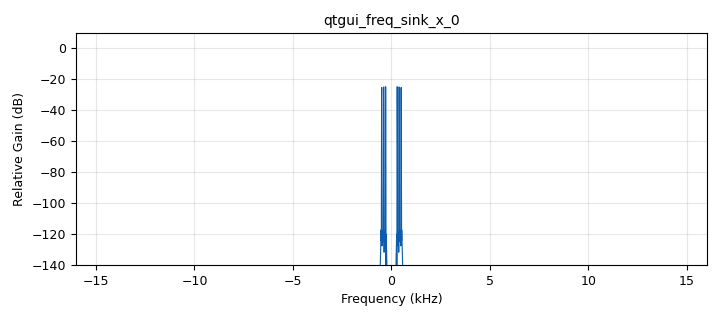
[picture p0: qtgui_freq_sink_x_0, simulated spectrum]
options:
  parameters:
    generate_options: qt_gui
    id: ec415_lab1_kremerme_cgeron
    output_language: python
    title: Not titled yet
  states: {}

blocks:
- name: fone
  id: variable
  parameters:
    value: '294'
  states: {}
- name: fthree
  id: variable
  parameters:
    value: '494'
  states: {}
- name: ftwo
  id: variable
  parameters:
    value: '392'
  states: {}
- name: num_notes
  id: variable
  parameters:
    value: '3'
  states: {}
- name: samp_rate
  id: variable
  parameters:
    value: '32000'
  states: {}
- name: samples_per_symbol
  id: variable
  parameters:
    value: '200'
  states: {}
- name: analog_sig_source_x_0
  id: analog_sig_source_x
  parameters:
    amp: '.99'
    freq: fone
    offset: '0'
    phase: '0'
    samp_rate: samp_rate
    type: float
    waveform: analog.GR_COS_WAVE
  states: {}
- name: analog_sig_source_x_1
  id: analog_sig_source_x
  parameters:
    amp: '.99'
    freq: ftwo
    offset: '0'
    phase: '0'
    samp_rate: samp_rate
    type: float
    waveform: analog.GR_COS_WAVE
  states: {}
- name: analog_sig_source_x_2
  id: analog_sig_source_x
  parameters:
    amp: '.99'
    freq: fthree
    offset: '0'
    phase: '0'
    samp_rate: samp_rate
    type: float
    waveform: analog.GR_COS_WAVE
  states: {}
- name: blocks_add_xx_0
  id: blocks_add_xx
  parameters:
    num_inputs: num_notes
    type: float
  states: {}
- name: blocks_multiply_const_vxx_0
  id: blocks_multiply_const_vxx
  parameters:
    const: 1/num_notes
    type: float
  states: {}
- name: blocks_multiply_xx_0
  id: blocks_multiply_xx
  parameters:
    num_inputs: num_notes
    type: float
  states: {state: disabled}
- name: qtgui_freq_sink_x_0
  id: qtgui_freq_sink_x
  parameters:
    bw: samp_rate
    fc: '0'
    fftsize: '8192'
    type: float
    wintype: firdes.WIN_BLACKMAN_hARRIS
  states: {}

connections:
- [analog_sig_source_x_0, '0', blocks_add_xx_0, '0']
- [analog_sig_source_x_1, '0', blocks_add_xx_0, '2']
- [analog_sig_source_x_2, '0', blocks_add_xx_0, '1']
- [blocks_add_xx_0, '0', blocks_multiply_const_vxx_0, '0']
- [blocks_multiply_const_vxx_0, '0', qtgui_freq_sink_x_0, '0']

metadata:
  file_format: 1
